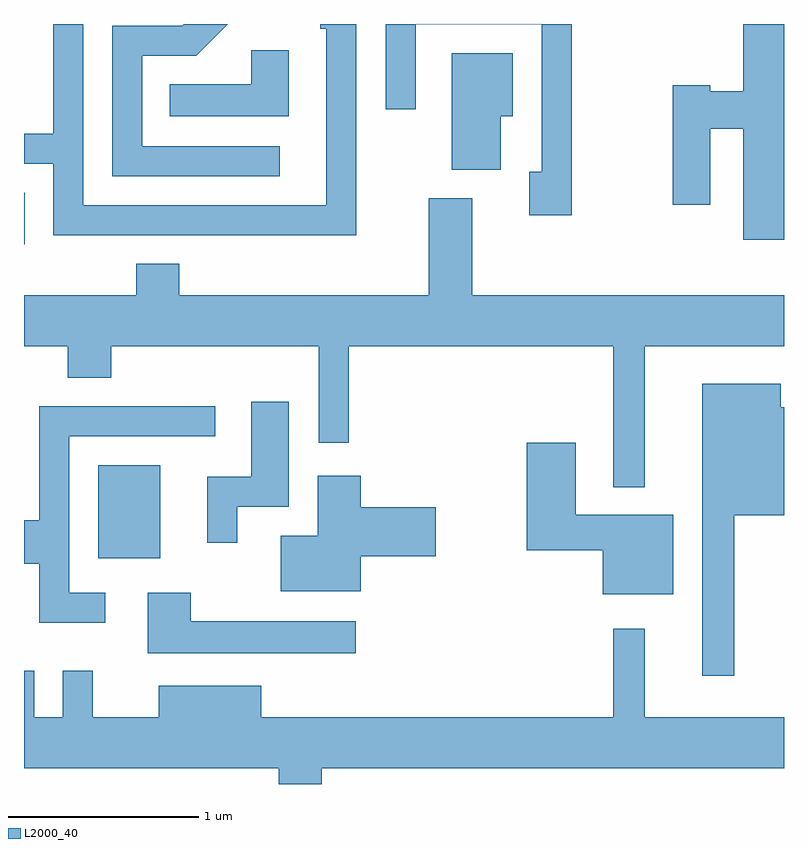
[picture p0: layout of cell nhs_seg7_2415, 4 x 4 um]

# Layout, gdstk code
import gdstk
lib = gdstk.Library(unit=1e-6, precision=1e-09)
def R(c, l, rs):  # rectangles x0, y0, x1, y1
    for r in rs: c.add(gdstk.rectangle(r[:2], r[2:], *l))
def P(c, l, *ps):  # polygons
    for p in ps: c.add(gdstk.Polygon(p, *l))
L2000_40 = (2000, 40)

nhs_seg7_2415 = lib.new_cell('nhs_seg7_2415')
R(nhs_seg7_2415, L2000_40, [(260.001,1695.441,260.329,1695.929), (259.611,1697.093,259.614,1697.364)])
P(nhs_seg7_2415, L2000_40, [(260.957,1697.609),(260.234,1697.609),(260.234,1698.086),(260.517,1698.086),(260.683,1698.252),(260.452,1698.252),(260.444,1698.244),(260.076,1698.244),(260.076,1697.451),(260.957,1697.451)],
  [(262.494,1698.252),(261.516,1698.252),(261.516,1697.803),(261.674,1697.803),(261.674,1698.251),(262.336,1698.251),(262.336,1697.474),(262.271,1697.474),(262.271,1697.246),(262.494,1697.246)],
  [(263.611,1698.252),(263.396,1698.252),(263.396,1697.899),(263.224,1697.899),(263.224,1697.929),(263.026,1697.929),(263.026,1697.301),(263.224,1697.301),(263.224,1697.701),(263.396,1697.701),(263.396,1697.116),(263.611,1697.116)],
  [(261.359,1698.252),(261.171,1698.252),(261.171,1698.226),(261.201,1698.226),(261.201,1697.299),(259.924,1697.299),(259.924,1698.252),(259.766,1698.252),(259.766,1697.674),(259.611,1697.674),(259.611,1697.516),(259.766,1697.516),(259.766,1697.141),(261.359,1697.141)],
  [(261.004,1698.114),(260.806,1698.114),(260.806,1697.934),(260.378,1697.934),(260.378,1697.766),(261.004,1697.766)],
  [(262.119,1697.766),(262.184,1697.766),(262.184,1698.099),(261.861,1698.099),(261.861,1697.486),(262.119,1697.486)],
  [(262.879,1696.556),(263.611,1696.556),(263.611,1696.824),(261.969,1696.824),(261.969,1697.334),(261.741,1697.334),(261.741,1696.824),(260.429,1696.824),(260.429,1696.989),(260.201,1696.989),(260.201,1696.824),(259.611,1696.824),(259.611,1696.556),(259.841,1696.556),(259.841,1696.391),(260.069,1696.391),(260.069,1696.556),(261.161,1696.556),(261.161,1696.048),(261.319,1696.048),(261.319,1696.556),(262.711,1696.556),(262.711,1695.813),(262.879,1695.813)],
  [(263.349,1695.666),(263.611,1695.666),(263.611,1696.234),(263.594,1696.234),(263.594,1696.359),(263.181,1696.359),(263.181,1694.823),(263.349,1694.823)],
  [(260.734,1695.711),(261.004,1695.711),(261.004,1696.264),(260.806,1696.264),(260.806,1695.869),(260.576,1695.869),(260.576,1695.523),(260.734,1695.523)],
  [(260.038,1695.259),(259.849,1695.259),(259.849,1696.081),(260.618,1696.081),(260.618,1696.239),(259.691,1696.239),(259.691,1695.639),(259.611,1695.639),(259.611,1695.411),(259.691,1695.411),(259.691,1695.101),(260.038,1695.101)],
  [(263.029,1695.669),(262.514,1695.669),(262.514,1696.049),(262.256,1696.049),(262.256,1695.481),(262.656,1695.481),(262.656,1695.251),(263.029,1695.251)],
  [(261.384,1695.451),(261.779,1695.451),(261.779,1695.709),(261.384,1695.709),(261.384,1695.874),(261.156,1695.874),(261.156,1695.559),(260.961,1695.559),(260.961,1695.266),(261.384,1695.266)],
  [(261.358,1695.109),(260.489,1695.109),(260.489,1695.259),(260.261,1695.259),(260.261,1694.941),(261.358,1694.941)],
  [(261.179,1694.336),(263.611,1694.336),(263.611,1694.604),(262.879,1694.604),(262.879,1695.068),(262.711,1695.068),(262.711,1694.604),(260.859,1694.604),(260.859,1694.769),(260.321,1694.769),(260.321,1694.604),(259.974,1694.604),(259.974,1694.848),(259.816,1694.848),(259.816,1694.604),(259.664,1694.604),(259.664,1694.848),(259.611,1694.848),(259.611,1694.336),(260.951,1694.336),(260.951,1694.252),(261.179,1694.252)])

lib.write_gds('nhs_seg7_2415.gds')
